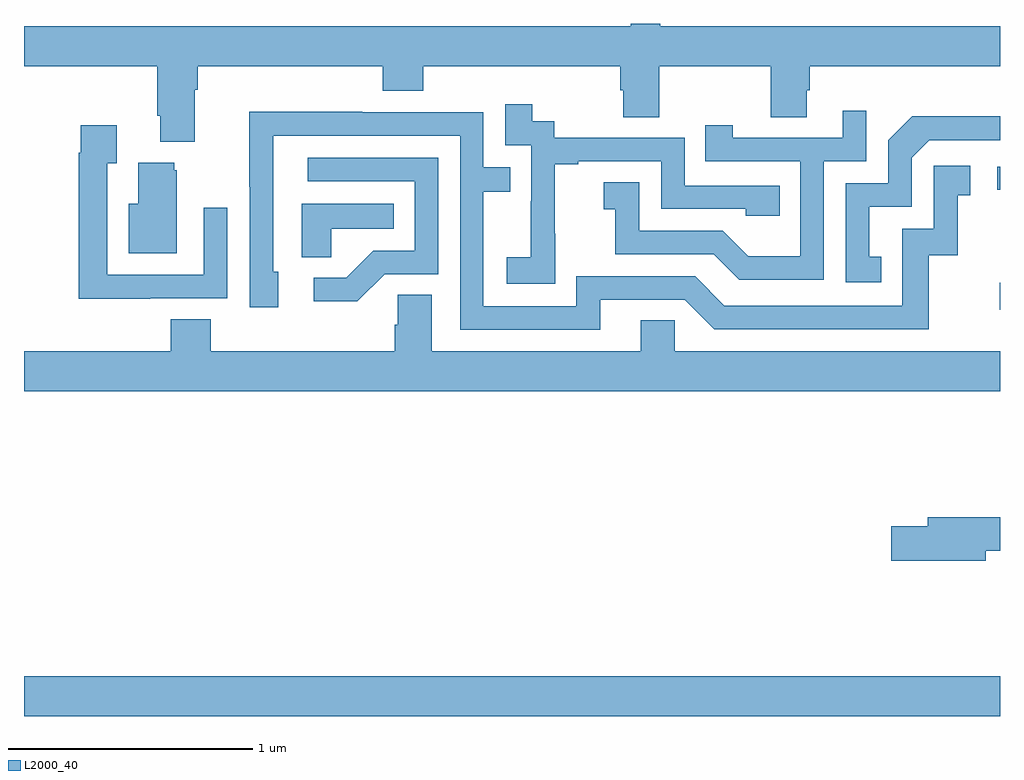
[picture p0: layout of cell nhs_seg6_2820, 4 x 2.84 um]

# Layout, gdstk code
import gdstk
lib = gdstk.Library(unit=1e-6, precision=1e-09)
def R(c, l, rs):  # rectangles x0, y0, x1, y1
    for r in rs: c.add(gdstk.rectangle(r[:2], r[2:], *l))
def P(c, l, *ps):  # polygons
    for p in ps: c.add(gdstk.Polygon(p, *l))
L2000_40 = (2000, 40)

nhs_seg6_2820 = lib.new_cell('nhs_seg6_2820')
R(nhs_seg6_2820, L2000_40, [(277,956.66,281,956.824), (280.999,958.326,281,958.438), (280.989,958.818,281,958.914)])
P(nhs_seg6_2820, L2000_40, [(277.699,959.228),(277.712,959.228),(277.712,959.324),(278.471,959.324),(278.471,959.225),(278.636,959.225),(278.636,959.324),(279.443,959.324),(279.443,959.226),(279.455,959.226),(279.455,959.116),(279.603,959.116),(279.603,959.324),(280.06,959.324),(280.06,959.116),(280.207,959.116),(280.207,959.226),(280.22,959.226),(280.22,959.324),(281,959.324),(281,959.488),(279.607,959.488),(279.607,959.5),(279.486,959.5),(279.486,959.488),(277,959.488),(277,959.324),(277.547,959.324),(277.547,959.122),(277.559,959.122),(277.559,959.015),(277.699,959.015)],
  [(279.177,958.639),(279.176,958.639),(279.176,958.923),(279.271,958.923),(279.271,958.935),(279.612,958.935),(279.612,958.74),(279.957,958.74),(279.957,958.713),(280.097,958.713),(280.097,958.836),(279.708,958.836),(279.708,959.031),(279.174,959.031),(279.174,959.1),(279.082,959.1),(279.082,959.17),(278.973,959.17),(278.973,959.001),(279.078,959.001),(279.078,958.772),(279.077,958.772),(279.077,958.543),(278.979,958.543),(278.979,958.433),(279.177,958.433)],
  [(280.278,958.935),(280.452,958.935),(280.452,959.143),(280.355,959.143),(280.355,959.031),(279.904,959.031),(279.904,959.083),(279.793,959.083),(279.793,958.935),(280.182,958.935),(280.182,958.546),(279.968,958.546),(279.864,958.65),(279.522,958.65),(279.522,958.849),(279.375,958.849),(279.375,958.739),(279.424,958.739),(279.424,958.554),(279.827,958.554),(279.932,958.449),(280.278,958.449)],
  [(279.361,958.368),(279.708,958.368),(279.828,958.248),(280.708,958.248),(280.708,958.551),(280.826,958.551),(280.826,958.797),(280.879,958.797),(280.879,958.918),(280.728,958.918),(280.728,958.659),(280.599,958.659),(280.599,958.344),(279.87,958.344),(279.75,958.464),(279.264,958.464),(279.264,958.341),(278.883,958.341),(278.883,958.81),(278.993,958.81),(278.993,958.911),(278.883,958.911),(278.883,959.136),(278.387,959.136),(278.387,959.138),(277.924,959.138),(277.924,958.831),(277.926,958.831),(277.926,958.338),(278.041,958.338),(278.041,958.482),(278.022,958.482),(278.022,959.04),(278.787,959.04),(278.787,958.245),(279.361,958.245)],
  [(280.514,958.545),(280.465,958.545),(280.465,958.749),(280.638,958.749),(280.638,958.95),(280.71,959.022),(281,959.022),(281,959.12),(280.64,959.12),(280.542,959.022),(280.542,958.845),(280.368,958.845),(280.368,958.44),(280.514,958.44)],
  [(277.517,958.374),(277.833,958.374),(277.833,958.744),(277.737,958.744),(277.737,958.47),(277.341,958.47),(277.341,958.927),(277.381,958.927),(277.381,959.083),(277.233,959.083),(277.233,958.97),(277.225,958.97),(277.225,958.373),(277.517,958.373)],
  [(278.478,958.473),(278.697,958.473),(278.697,958.95),(278.163,958.95),(278.163,958.854),(278.601,958.854),(278.601,958.569),(278.432,958.569),(278.321,958.458),(278.187,958.458),(278.187,958.361),(278.365,958.361)],
  [(277.627,958.899),(277.616,958.899),(277.616,958.93),(277.469,958.93),(277.469,958.762),(277.43,958.762),(277.43,958.559),(277.627,958.559)],
  [(278.259,958.658),(278.516,958.658),(278.516,958.762),(278.138,958.762),(278.138,958.543),(278.259,958.543)],
  [(281,958.156),(279.666,958.156),(279.666,958.283),(279.527,958.283),(279.527,958.156),(278.671,958.156),(278.671,958.388),(278.532,958.388),(278.532,958.265),(278.519,958.265),(278.519,958.156),(277.766,958.156),(277.766,958.289),(277.601,958.289),(277.601,958.156),(277,958.156),(277,957.992),(281,957.992)],
  [(280.942,957.34),(281,957.34),(281,957.476),(280.703,957.476),(280.703,957.44),(280.554,957.44),(280.554,957.298),(280.942,957.298)])

lib.write_gds('nhs_seg6_2820.gds')
